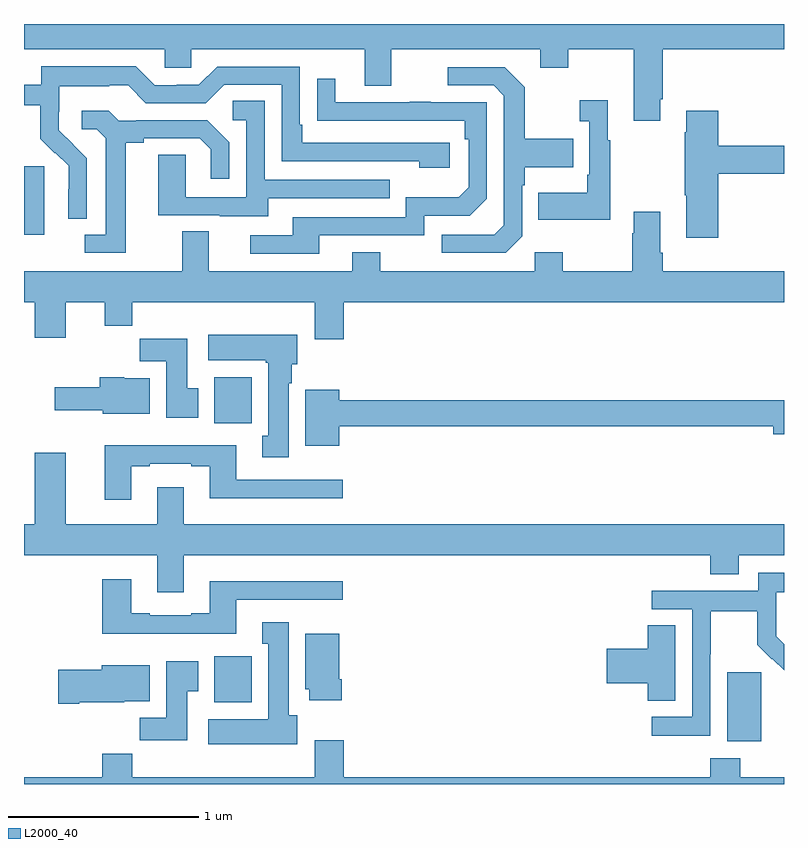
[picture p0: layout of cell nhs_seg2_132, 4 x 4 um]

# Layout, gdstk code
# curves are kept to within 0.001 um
import gdstk
lib = gdstk.Library(unit=1e-6, precision=1e-09)
def R(c, l, rs):  # rectangles x0, y0, x1, y1
    for r in rs: c.add(gdstk.rectangle(r[:2], r[2:], *l))
def P(c, l, *ps):  # polygons
    for p in ps: c.add(gdstk.Polygon(p, *l))
L2000_40 = (2000, 40)

nhs_seg2_132 = lib.new_cell('nhs_seg2_132')
R(nhs_seg2_132, L2000_40, [(120.701,612.026,120.88,612.387), (118.001,612.23,118.198,612.472), (118.001,613.7,118.198,613.942), (117,614.69,117.106,615.051)])
P(nhs_seg2_132, L2000_40, [(120.349,615.403),(120.362,615.403),(120.362,615.668),(121,615.668),(121,615.8),(117,615.8),(117,615.668),(117.741,615.668),(117.741,615.57),(117.879,615.57),(117.879,615.668),(118.793,615.668),(118.793,615.474),(118.933,615.474),(118.933,615.668),(119.717,615.668),(119.717,615.569),(119.865,615.569),(119.865,615.668),(120.209,615.668),(120.209,615.291),(120.349,615.291)],
  [(117.33,615.094),(117.184,615.242),(117.184,615.339),(117.186,615.339),(117.186,615.473),(117.449,615.473),(117.449,615.477),(117.549,615.477),(117.642,615.384),(117.957,615.384),(118.053,615.48),(118.356,615.48),(118.356,615.078),(119.081,615.078),(119.081,615.044),(119.242,615.044),(119.242,615.174),(118.465,615.174),(118.465,615.271),(118.452,615.271),(118.452,615.576),(118.017,615.576),(117.921,615.48),(117.803,615.48),(117.803,615.477),(117.687,615.477),(117.587,615.577),(117.09,615.577),(117.09,615.48),(117,615.48),(117,615.372),(117.085,615.372),(117.085,615.197),(117.162,615.12),(117.165,615.123),(117.236,615.053),(117.236,614.93),(117.234,614.93),(117.234,614.776),(117.33,614.776)],
  [(119.622,614.682),(119.622,614.951),(119.635,614.951),(119.635,615.047),(119.891,615.047),(119.891,615.195),(119.635,615.195),(119.635,615.467),(119.529,615.573),(119.229,615.573),(119.229,615.477),(119.472,615.477),(119.526,615.423),(119.526,614.742),(119.475,614.691),(119.199,614.691),(119.199,614.595),(119.535,614.595)],
  [(118.555,614.688),(119.106,614.688),(119.106,614.79),(119.346,614.79),(119.436,614.88),(119.436,615.387),(119.141,615.387),(119.141,615.392),(119.029,615.392),(119.029,615.387),(118.639,615.387),(118.639,615.511),(118.543,615.511),(118.543,615.292),(119.32,615.291),(119.32,615.194),(119.34,615.194),(119.34,614.94),(119.287,614.887),(119.01,614.887),(119.01,614.784),(118.415,614.784),(118.415,614.688),(118.191,614.688),(118.191,614.592),(118.555,614.592)],
  [(120.085,615.187),(120.073,615.187),(120.073,615.4),(119.925,615.4),(119.925,615.287),(119.976,615.287),(119.976,615.007),(119.964,615.007),(119.964,614.911),(119.707,614.911),(119.707,614.771),(120.085,614.771)],
  [(118.285,614.883),(118.925,614.883),(118.925,614.979),(118.266,614.979),(118.266,615.395),(118.098,615.395),(118.098,615.294),(118.17,615.294),(118.17,614.889),(117.852,614.889),(117.852,615.113),(117.707,615.113),(117.707,614.793),(118.031,614.793),(118.031,614.789),(118.285,614.789)],
  [(120.653,615.011),(121,615.011),(121,615.158),(120.653,615.158),(120.653,615.343),(120.485,615.343),(120.485,615.23),(120.478,615.23),(120.478,614.899),(120.485,614.899),(120.485,614.676),(120.653,614.676)],
  [(117.535,615.176),(117.631,615.176),(117.631,615.198),(117.926,615.198),(117.983,615.141),(117.983,614.985),(118.08,614.985),(118.08,615.178),(117.964,615.294),(117.592,615.294),(117.592,615.291),(117.498,615.291),(117.446,615.343),(117.303,615.343),(117.303,615.246),(117.384,615.246),(117.431,615.199),(117.431,614.691),(117.321,614.691),(117.321,614.595),(117.535,614.595)],
  [(118.682,614.336),(121,614.336),(121,614.5),(120.362,614.5),(120.362,614.596),(120.349,614.596),(120.349,614.812),(120.209,614.812),(120.209,614.699),(120.202,614.699),(120.202,614.5),(119.835,614.5),(119.835,614.599),(119.688,614.599),(119.688,614.5),(118.875,614.5),(118.875,614.599),(118.727,614.599),(118.727,614.5),(117.973,614.5),(117.973,614.708),(117.833,614.708),(117.833,614.5),(117,614.5),(117,614.336),(117.056,614.336),(117.056,614.148),(117.22,614.148),(117.22,614.336),(117.425,614.336),(117.425,614.212),(117.569,614.212),(117.569,614.336),(118.529,614.336),(118.529,614.142),(118.682,614.142)],
  [(118.393,613.91),(118.408,613.91),(118.408,614.01),(118.438,614.01),(118.438,614.164),(117.969,614.164),(117.969,614.03),(118.273,614.03),(118.273,614.017),(118.286,614.017),(118.286,613.634),(118.253,613.634),(118.253,613.521),(118.393,613.521)],
  [(117.916,613.884),(117.859,613.884),(117.859,614.143),(117.61,614.143),(117.61,614.024),(117.749,614.024),(117.749,613.728),(117.916,613.728)],
  [(117.661,613.936),(117.528,613.936),(117.528,613.942),(117.398,613.942),(117.398,613.888),(117.162,613.888),(117.162,613.766),(117.414,613.766),(117.414,613.748),(117.661,613.748)],
  [(118.66,613.684),(120.944,613.684),(120.944,613.642),(121,613.642),(121,613.82),(118.66,613.82),(118.66,613.876),(118.481,613.876),(118.481,613.58),(118.66,613.58)],
  [(117.565,613.473),(117.661,613.473),(117.661,613.485),(117.881,613.485),(117.881,613.473),(117.977,613.473),(117.977,613.304),(118.678,613.304),(118.678,613.401),(118.117,613.401),(118.117,613.582),(117.425,613.582),(117.425,613.296),(117.565,613.296)],
  [(117.841,613.004),(120.611,613.004),(120.611,612.905),(120.763,612.905),(120.763,613.004),(121,613.004),(121,613.168),(117.841,613.168),(117.841,613.363),(117.701,613.363),(117.701,613.168),(117.22,613.168),(117.22,613.543),(117.056,613.543),(117.056,613.168),(117,613.168),(117,613.004),(117.701,613.004),(117.701,612.81),(117.841,612.81)],
  [(120.612,612.484),(120.615,612.484),(120.615,612.708),(120.859,612.708),(120.859,612.533),(120.936,612.456),(120.939,612.459),(121,612.399),(121,612.536),(120.958,612.578),(120.958,612.675),(120.96,612.675),(120.96,612.809),(121,612.809),(121,612.913),(120.864,612.913),(120.864,612.816),(120.303,612.816),(120.303,612.72),(120.516,612.72),(120.516,612.153),(120.303,612.153),(120.303,612.055),(120.612,612.055)],
  [(118.117,612.771),(118.678,612.771),(118.678,612.868),(117.977,612.868),(117.977,612.7),(117.881,612.7),(117.881,612.687),(117.661,612.687),(117.661,612.7),(117.565,612.7),(117.565,612.877),(117.413,612.877),(117.413,612.59),(118.117,612.59)],
  [(118.438,612.162),(118.393,612.162),(118.393,612.652),(118.253,612.652),(118.253,612.539),(118.286,612.539),(118.286,612.142),(117.969,612.142),(117.969,612.008),(118.438,612.008)],
  [(120.427,612.635),(120.284,612.635),(120.284,612.512),(120.066,612.512),(120.066,612.329),(120.284,612.329),(120.284,612.238),(120.427,612.238)],
  [(118.673,612.352),(118.66,612.352),(118.66,612.592),(118.481,612.592),(118.481,612.3),(118.502,612.3),(118.502,612.24),(118.673,612.24)],
  [(117.859,612.289),(117.916,612.289),(117.916,612.445),(117.749,612.445),(117.749,612.148),(117.61,612.148),(117.61,612.03),(117.859,612.03)],
  [(117.292,612.23),(117.528,612.23),(117.528,612.236),(117.661,612.236),(117.661,612.424),(117.41,612.424),(117.41,612.401),(117.18,612.401),(117.18,612.223),(117.292,612.223)],
  [(121,611.836),(120.771,611.836),(120.771,611.935),(120.611,611.935),(120.611,611.836),(118.682,611.836),(118.682,612.031),(118.529,612.031),(118.529,611.836),(117.569,611.836),(117.569,611.96),(117.413,611.96),(117.413,611.836),(117,611.836),(117,611.8),(121,611.8)])

lib.write_gds('nhs_seg2_132.gds')
